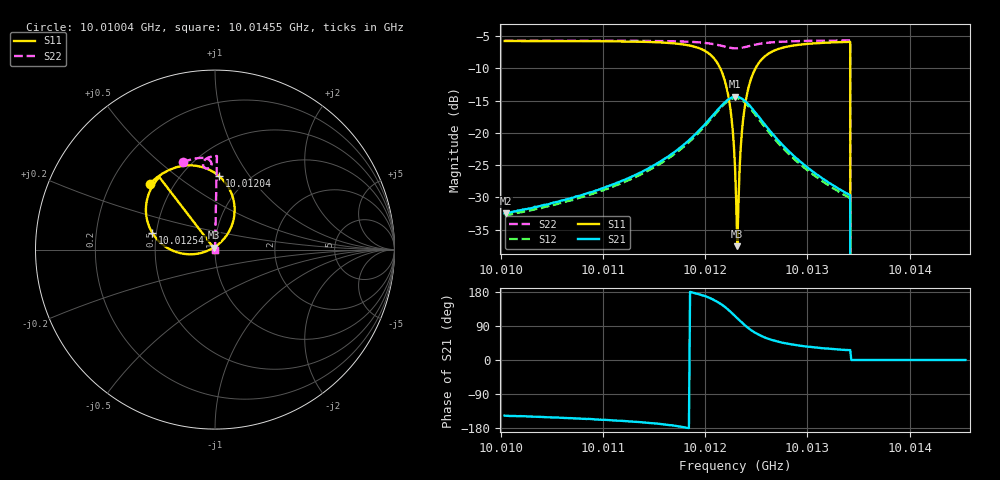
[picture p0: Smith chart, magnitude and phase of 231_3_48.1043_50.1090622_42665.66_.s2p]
#  HZ  S  RI  R  50.00
! Rohde & Schwarz Vector Network Analyzer
! Rohde-Schwarz,ZNB20-2Port,1311601062101988,3.16
! Created: UTC 12/23/2023, 3:57:46 AM
! freq[Hz]  re:S11  im:S11  re:S21  im:S21  re:S12  im:S12  re:S22  im:S22
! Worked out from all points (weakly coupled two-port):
!   401 points, 10.01004 GHz to 10.01455 GHz, reference 50 ohm
!   highest |S21| = -14.39 dB at 10.01229 GHz (marker M1); lowest = -32.5 dB at 10.01005 GHz (marker M2)
!   lowest |S11| = -37.6 dB at 10.01231 GHz (marker M3), VSWR 1.03, Z = 49.3 + j1.11 ohm
!   |S11| at or under -10 dB: 10.01215 GHz to 10.01249 GHz (343.8 kHz wide, 0.00343 % of centre); 10.01342 GHz to end of sweep
!   |S22| runs from - to -5.7 dB; largest |S21 - S12| = 0.0093
!   S11 on the Smith chart (normalised r, x): 10.01004 GHz: 0.37, +0.37; 10.01204 GHz: 0.74, +0.73; 10.01254 GHz: 0.48, +0.10; 10.01455 GHz: 1.00, +0.00
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1.0010037e10  -0.3642 0.3659  -0.0199 -0.013  -0.0184 -0.0135  -0.1798 0.4866
1.0010049e10  -0.3636 0.3665  -0.0199 -0.0129  -0.0185 -0.0135  -0.1791 0.4868
1.0010792e10  -0.3084 0.4136  -0.0299 -0.0139  -0.028 -0.0148  -0.1309 0.5025
1.0011548e10  -0.201 0.4626  -0.058 -0.0119  -0.055 -0.0143  -0.0748 0.511
1.0012044e10  0.0241 0.408  -0.1232 0.0356  -0.1213 0.0282  -0.0255 0.4934
1.0012145e10  0.0945 0.3056  -0.1357 0.081  -0.1368 0.0721  -0.0191 0.4769
1.0012213e10  0.1076 0.1903  -0.1275 0.1244  -0.1301 0.1163  -0.0224 0.4627
1.0012258e10  0.0791 0.1023  -0.1068 0.1543  -0.1112 0.1461  -0.0301 0.4548
1.001228e10  0.0514 0.0617  -0.0922 0.1663  -0.0966 0.1587  -0.0352 0.4523
1.0012292e10  0.0338 0.043  -0.0837 0.1714  -0.0881 0.1643  -0.0381 0.4516
1.0012314e10  -0.00699 0.0112  -0.0654 0.1789  -0.0704 0.1719  -0.044 0.451
1.0012326e10  -0.0284 -0.000788  -0.0565 0.181  -0.0613 0.1744  -0.047 0.4514
1.0012359e10  -0.0991 -0.0234  -0.0282 0.1821  -0.0332 0.1761  -0.0548 0.4545
1.0012393e10  -0.1683 -0.0244  -0.0019 0.1758  -0.00688 0.1702  -0.0613 0.4599
1.001245e10  -0.2639 0.00839  0.031 0.1547  0.0245 0.15  -0.0663 0.4714
1.001254e10  -0.3492 0.0934  0.0548 0.1164  0.0488 0.1131  -0.0646 0.4879
1.0012754e10  -0.3834 0.2492  0.0566 0.058  0.0513 0.0576  -0.045 0.5087
1.0013047e10  -0.352 0.3466  0.0419 0.0283  0.0387 0.0286  -0.0182 0.5181
1.0013396e10  -0.3123 0.401  0.0301 0.0149  0.028 0.0154  0.00929 0.5213
1.0013453e10  0 0  0 0  0 0  0 0
1.0013802e10  0 0  0 0  0 0  0 0
1.0014546e10  0 0  0 0  0 0  0 0
